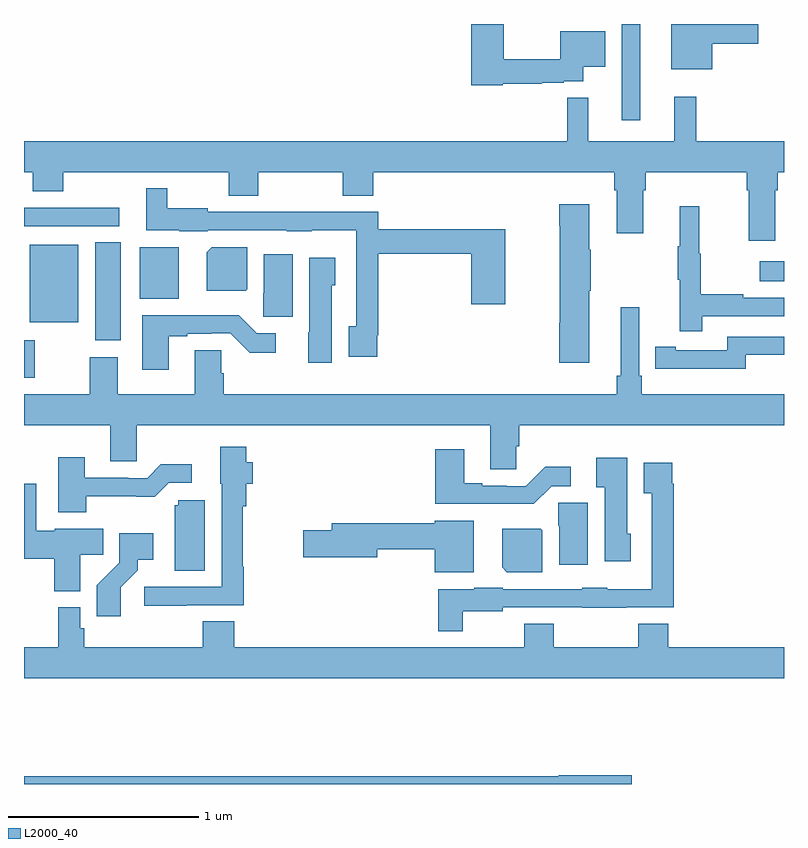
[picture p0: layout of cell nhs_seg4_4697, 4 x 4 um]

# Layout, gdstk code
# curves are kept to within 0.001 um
import gdstk
lib = gdstk.Library(unit=1e-6, precision=1e-09)
def R(c, l, rs):  # rectangles x0, y0, x1, y1
    for r in rs: c.add(gdstk.rectangle(r[:2], r[2:], *l))
def P(c, l, *ps):  # polygons
    for p in ps: c.add(gdstk.Polygon(p, *l))
L2000_40 = (2000, 40)

nhs_seg4_4697 = lib.new_cell('nhs_seg4_4697')
R(nhs_seg4_4697, L2000_40, [(363,829.038,363.057,829.236), (363.374,829.235,363.508,829.751), (363.029,829.331,363.286,829.738), (363.608,829.454,363.814,829.724), (366.873,829.547,367,829.651), (363,829.836,363.502,829.932), (366.147,830.394,366.244,830.9)])
P(nhs_seg4_4697, L2000_40, [(365.52,830.586),(365.726,830.586),(365.726,830.592),(365.84,830.592),(365.84,830.598),(365.944,830.598),(365.944,830.675),(366.058,830.675),(366.058,830.863),(365.822,830.863),(365.822,830.714),(365.524,830.714),(365.524,830.9),(365.354,830.9),(365.354,830.578),(365.52,830.578)],
  [(366.622,830.795),(366.865,830.795),(366.865,830.9),(366.407,830.9),(366.407,830.663),(366.622,830.663)],
  [(366.955,830.024),(366.968,830.024),(366.968,830.12),(367,830.12),(367,830.284),(366.539,830.284),(366.539,830.518),(366.422,830.518),(366.422,830.284),(365.969,830.284),(365.969,830.513),(365.86,830.513),(365.86,830.284),(363,830.284),(363,830.12),(363.047,830.12),(363.047,830.021),(363.207,830.021),(363.207,830.12),(364.078,830.12),(364.078,829.996),(364.233,829.996),(364.233,830.12),(364.678,830.12),(364.678,829.996),(364.838,829.996),(364.838,830.12),(366.107,830.12),(366.107,830.024),(366.119,830.024),(366.119,829.8),(366.259,829.8),(366.259,830.024),(366.272,830.024),(366.272,830.12),(366.803,830.12),(366.803,830.024),(366.815,830.024),(366.815,829.758),(366.955,829.758)],
  [(364.858,829.261),(364.865,829.261),(364.865,829.69),(365.354,829.69),(365.354,829.425),(365.532,829.425),(365.532,829.819),(364.865,829.819),(364.865,829.911),(364.615,829.911),(364.615,829.913),(364.383,829.913),(364.383,829.911),(363.966,829.911),(363.966,829.93),(363.754,829.93),(363.754,830.035),(363.644,830.035),(363.644,829.814),(363.816,829.814),(363.816,829.808),(363.966,829.808),(363.966,829.815),(364.383,829.815),(364.383,829.808),(364.515,829.808),(364.515,829.814),(364.749,829.814),(364.749,829.31),(364.709,829.31),(364.709,829.149),(364.858,829.149)],
  [(365.974,829.495),(365.982,829.495),(365.982,829.712),(365.974,829.712),(365.974,829.951),(365.816,829.951),(365.816,829.838),(365.821,829.838),(365.821,829.328),(365.816,829.328),(365.816,829.116),(365.974,829.116)],
  [(366.569,829.362),(367,829.362),(367,829.458),(366.785,829.458),(366.785,829.478),(366.562,829.478),(366.562,829.692),(366.554,829.692),(366.554,829.942),(366.452,829.942),(366.452,829.729),(366.441,829.729),(366.441,829.555),(366.452,829.555),(366.452,829.284),(366.569,829.284)],
  [(364.174,829.504),(364.174,829.726),(363.988,829.726),(363.962,829.7),(363.962,829.496),(364.166,829.496)],
  [(364.414,829.687),(364.262,829.687),(364.262,829.482),(364.258,829.482),(364.258,829.359),(364.414,829.359)],
  [(364.621,829.524),(364.639,829.524),(364.639,829.669),(364.502,829.669),(364.502,829.278),(364.496,829.278),(364.496,829.116),(364.621,829.116)],
  [(365.592,828.678),(365.606,828.678),(365.606,828.788),(367,828.788),(367,828.952),(366.251,828.952),(366.251,829.048),(366.237,829.048),(366.237,829.408),(366.14,829.408),(366.14,829.048),(366.121,829.048),(366.121,828.952),(364.052,828.952),(364.052,829.062),(364.038,829.062),(364.038,829.184),(363.899,829.184),(363.899,828.952),(363.493,828.952),(363.493,829.147),(363.346,829.147),(363.346,828.952),(363,828.952),(363,828.788),(363.455,828.788),(363.455,828.598),(363.594,828.598),(363.594,828.788),(365.453,828.788),(365.453,828.556),(365.592,828.556)],
  [(363.763,829.257),(363.859,829.257),(363.859,829.269),(363.986,829.269),(363.986,829.272),(364.086,829.272),(364.189,829.17),(364.324,829.17),(364.324,829.272),(364.224,829.272),(364.129,829.367),(363.623,829.367),(363.623,829.08),(363.763,829.08)],
  [(366.798,829.158),(367,829.158),(367,829.254),(366.702,829.254),(366.702,829.182),(366.43,829.182),(366.43,829.202),(366.322,829.202),(366.322,829.086),(366.43,829.086),(366.43,829.085),(366.798,829.085)],
  [(363.857,827.841),(364.157,827.841),(364.157,828.044),(364.15,828.044),(364.15,828.362),(364.17,828.362),(364.17,828.48),(364.205,828.48),(364.205,828.594),(364.17,828.594),(364.17,828.676),(364.034,828.676),(364.034,828.48),(364.041,828.48),(364.041,827.937),(363.633,827.937),(363.633,827.839),(363.857,827.839)],
  [(365.778,828.468),(365.878,828.468),(365.878,828.571),(365.743,828.571),(365.64,828.468),(365.54,828.468),(365.54,828.471),(365.413,828.471),(365.413,828.484),(365.317,828.484),(365.317,828.661),(365.165,828.661),(365.165,828.374),(365.683,828.374)],
  [(363.327,828.414),(363.689,828.413),(363.762,828.486),(363.883,828.486),(363.883,828.583),(363.721,828.583),(363.648,828.51),(363.548,828.51),(363.548,828.513),(363.319,828.513),(363.319,828.619),(363.179,828.619),(363.179,828.329),(363.327,828.329)],
  [(366.193,828.216),(366.175,828.216),(366.175,828.616),(366.011,828.616),(366.011,828.462),(366.056,828.462),(366.056,828.072),(366.193,828.072)],
  [(365.308,827.81),(365.52,827.81),(365.52,827.829),(365.937,827.829),(365.937,827.828),(366.169,827.828),(366.169,827.829),(366.419,827.829),(366.419,828.479),(366.412,828.479),(366.412,828.592),(366.263,828.592),(366.263,828.431),(366.303,828.431),(366.303,827.926),(366.069,827.926),(366.069,827.932),(365.937,827.932),(365.937,827.925),(365.52,827.925),(365.52,827.932),(365.37,827.932),(365.37,827.926),(365.179,827.926),(365.179,827.705),(365.308,827.705)],
  [(363.295,828.106),(363.416,828.106),(363.416,828.244),(363.162,828.244),(363.162,828.232),(363.064,828.232),(363.064,828.481),(363,828.481),(363,828.085),(363.158,828.085),(363.158,827.915),(363.295,827.915)],
  [(363.952,828.393),(363.813,828.393),(363.813,828.366),(363.794,828.366),(363.794,828.022),(363.952,828.022)],
  [(365.968,828.381),(365.812,828.381),(365.812,828.258),(365.816,828.258),(365.816,828.054),(365.968,828.054)],
  [(365.368,828.286),(365.162,828.286),(365.162,828.272),(364.619,828.272),(364.619,828.236),(364.47,828.236),(364.47,828.094),(364.858,828.094),(364.858,828.136),(365.162,828.136),(365.162,828.014),(365.368,828.014)],
  [(365.728,828.236),(365.72,828.244),(365.516,828.244),(365.516,828.04),(365.542,828.014),(365.728,828.014)],
  [(363.508,827.935),(363.598,828.025),(363.598,828.08),(363.679,828.08),(363.679,828.22),(363.501,828.22),(363.501,828.065),(363.382,827.946),(363.382,827.784),(363.508,827.784)],
  [(367,827.62),(366.392,827.62),(366.392,827.744),(366.232,827.744),(366.232,827.62),(365.787,827.62),(365.787,827.744),(365.632,827.744),(365.632,827.62),(364.106,827.62),(364.106,827.756),(363.941,827.756),(363.941,827.62),(363.317,827.62),(363.317,827.721),(363.297,827.721),(363.297,827.83),(363.181,827.83),(363.181,827.62),(363,827.62),(363,827.456),(367,827.456)],
  [(366.199,826.946),(365.814,826.946),(365.814,826.94),(363,826.94),(363,826.9),(366.199,826.9)])

lib.write_gds('nhs_seg4_4697.gds')
